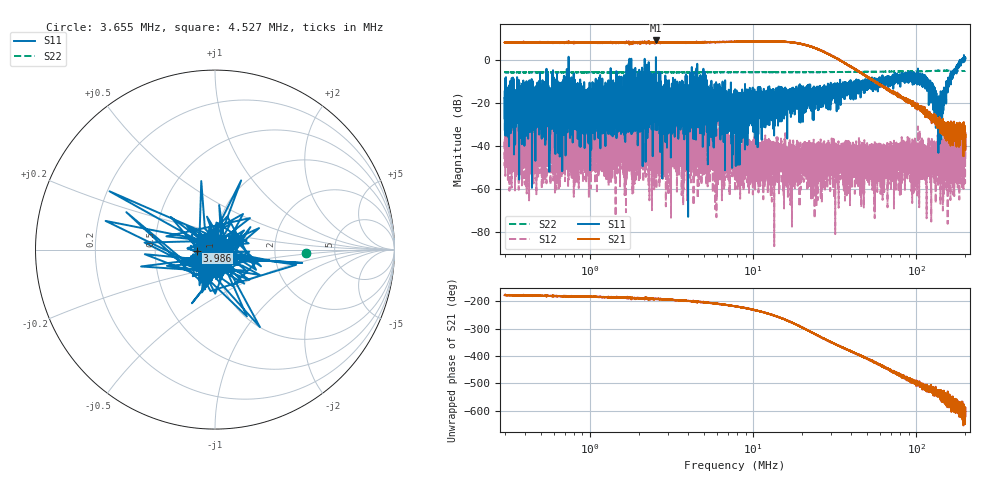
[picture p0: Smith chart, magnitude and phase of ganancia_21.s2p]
# Hz S DB R 50
! CMT, M5065, 19127446, 24.2.4/2
! Date: 11/1/2024 4:27:16 PM
! Data: Format (Calibration Info)
! Freq	S11:dB/Ang(F2)	S21:dB/Ang(F2)	S12:dB/Ang(F2)	S22:dB/Ang(F2)
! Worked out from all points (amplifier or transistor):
!   9000 points, 300 kHz to 200 MHz, reference 50 ohm
!   highest |S21| = 8.8 dB at 2.538 MHz (marker M1)
!   |S21| within 3 dB of that: start of sweep to 22.68 MHz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
!   unconditionally stable (mu >= 1): 740.7 kHz to 1.747 MHz; 2.539 MHz to 189.6 MHz; 190.2 MHz to 192.5 MHz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
!   at 886.8 kHz: K = 13.57, MAG = 9.2 dB, |S12| = -39.2 dB
!   at 7.749 MHz: K = 19.76, MAG = 9.9 dB, |S12| = -43.3 dB
!   at 200 MHz: K = -410.88, MSG = 6.7 dB, |S12| = -47.4 dB
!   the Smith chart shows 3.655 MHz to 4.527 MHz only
!   S11 on the Smith chart (normalised r, x): 3.655 MHz: 1.03, -0.24; 3.986 MHz: 0.82, -0.01; 4.527 MHz: 1.21, +0.16
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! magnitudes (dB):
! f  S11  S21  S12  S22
! 300 kHz  -17.8  7.8  -38.1  -5.9
! 310.6 kHz  -32.0  7.8  -41.0  -5.9
! 418 kHz  -36.7  7.9  -50.4  -5.9
! 886.8 kHz  -18.9  7.9  -39.2  -5.9
! 1.275 MHz  -23.3  7.8  -42.9  -5.9
! 1.363 MHz  -23.2  7.9  -52.7  -5.9
! 1.67 MHz  -18.7  7.8  -47.7  -5.9
! 2.098 MHz  -17.4  7.9  -43.6  -5.9
! 2.538 MHz  1.1  8.8  -43.3  -5.9
! 2.621 MHz  -20.1  7.8  -38.6  -5.9
! 3.098 MHz  -17.7  7.7  -38.0  -5.9
! 3.655 MHz  -18.5  7.9  -37.7  -5.9
! 3.986 MHz  -20.1  7.9  -39.1  -5.9
! 4.527 MHz  -18.4  7.8  -43.0  -5.9
! 7.749 MHz  -13.8  8.4  -43.3  -5.8
! 22.91 MHz  -13.6  6.0  -48.5  -5.9
! 67.71 MHz  -8.8  -14.3  -54.4  -5.6
! 109.2 MHz  -12.6  -23.5  -39.8  -5.4
! 124.9 MHz  -11.0  -28.2  -42.9  -5.3
! 138.5 MHz  -27.3  -29.0  -37.4  -5.2
! 158.7 MHz  -10.6  -29.4  -44.7  -5.2
! 200 MHz  0.4  -34.0  -47.4  -5.3
